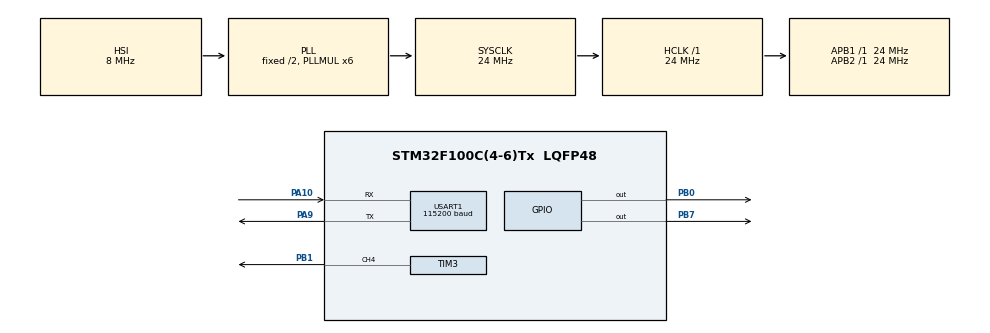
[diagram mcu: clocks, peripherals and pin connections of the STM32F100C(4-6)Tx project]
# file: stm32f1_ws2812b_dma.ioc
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Dma.Request0=TIM3_CH4/UP
Dma.TIM3_CH4/UP.0.Direction=DMA_MEMORY_TO_PERIPH
Dma.TIM3_CH4/UP.0.Instance=DMA1_Channel3
Dma.TIM3_CH4/UP.0.MemDataAlignment=DMA_MDATAALIGN_BYTE
Dma.TIM3_CH4/UP.0.MemInc=DMA_MINC_ENABLE
Dma.TIM3_CH4/UP.0.Mode=DMA_CIRCULAR
Dma.TIM3_CH4/UP.0.PeriphDataAlignment=DMA_PDATAALIGN_HALFWORD
Dma.TIM3_CH4/UP.0.PeriphInc=DMA_PINC_DISABLE
Dma.TIM3_CH4/UP.0.Priority=DMA_PRIORITY_HIGH
Mcu.Family=STM32F1
Mcu.Name=STM32F100C(4-6)Tx
Mcu.Package=LQFP48
NVIC.DMA1_Channel3_IRQn=true\:0\:0\:false\:false\:true
NVIC.PriorityGroup=NVIC_PRIORITYGROUP_4
NVIC.USART1_IRQn=true\:0\:0\:false\:false\:true
PA10.Mode=Asynchronous
PA10.Signal=USART1_RX
PA9.Mode=Asynchronous
PA9.Signal=USART1_TX
PB0.Signal=GPIO_Output
PB1.GPIO_Speed=GPIO_SPEED_FREQ_HIGH
PB1.Signal=S_TIM3_CH4
PB7.Signal=GPIO_Output
ProjectManager.HeapSize=0x800
ProjectManager.StackSize=0x400
ProjectManager.TargetToolchain=MDK-ARM V5
RCC.AHBFreq_Value=24000000
RCC.APB1Freq_Value=24000000
RCC.APB1TimFreq_Value=24000000
RCC.APB2Freq_Value=24000000
RCC.APB2TimFreq_Value=24000000
RCC.HCLKFreq_Value=24000000
RCC.PLLMUL=RCC_PLL_MUL6
RCC.SYSCLKFreq_VALUE=24000000
RCC.SYSCLKSource=RCC_SYSCLKSOURCE_PLLCLK
RCC.VDD_VALUE=3.3
SH.S_TIM3_CH4.0=TIM3_CH4,PWM Generation4 CH4
TIM3.Channel-PWM\ Generation4\ CH4=TIM_CHANNEL_4
TIM3.Period=30
TIM3.Prescaler=0
USART1.BaudRate=115200
VP_SYS_VS_ND.Mode=No_Debug
VP_TIM3_VS_ClockSourceINT.Mode=Internal
board=stm32f1_ws2812b_dma

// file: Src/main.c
/**
  ******************************************************************************
  * File Name          : main.c
  * Description        : Main program body
  ******************************************************************************
  *
  * COPYRIGHT(c) 2016 STMicroelectronics
  *
  * Redistribution and use in source and binary forms, with or without modification,
  * are permitted provided that the following conditions are met:
  *   1. Redistributions of source code must retain the above copyright notice,
  *      this list of conditions and the following disclaimer.
  *   2. Redistributions in binary form must reproduce the above copyright notice,
  *      this list of conditions and the following disclaimer in the documentation
  *      and/or other materials provided with the distribution.
  *   3. Neither the name of STMicroelectronics nor the names of its contributors
  *      may be used to endorse or promote products derived from this software
  *      without specific prior written permission.
  *
  * THIS SOFTWARE IS PROVIDED BY THE COPYRIGHT HOLDERS AND CONTRIBUTORS "AS IS"
  * AND ANY EXPRESS OR IMPLIED WARRANTIES, INCLUDING, BUT NOT LIMITED TO, THE
  * IMPLIED WARRANTIES OF MERCHANTABILITY AND FITNESS FOR A PARTICULAR PURPOSE ARE
  * DISCLAIMED. IN NO EVENT SHALL THE COPYRIGHT HOLDER OR CONTRIBUTORS BE LIABLE
  * FOR ANY DIRECT, INDIRECT, INCIDENTAL, SPECIAL, EXEMPLARY, OR CONSEQUENTIAL
  * DAMAGES (INCLUDING, BUT NOT LIMITED TO, PROCUREMENT OF SUBSTITUTE GOODS OR
  * SERVICES; LOSS OF USE, DATA, OR PROFITS; OR BUSINESS INTERRUPTION) HOWEVER
  * CAUSED AND ON ANY THEORY OF LIABILITY, WHETHER IN CONTRACT, STRICT LIABILITY,
  * OR TORT (INCLUDING NEGLIGENCE OR OTHERWISE) ARISING IN ANY WAY OUT OF THE USE
  * OF THIS SOFTWARE, EVEN IF ADVISED OF THE POSSIBILITY OF SUCH DAMAGE.
  *
  ******************************************************************************
  */
#include "main.h"
#include "stm32f1xx_hal.h"

/* USER CODE BEGIN Includes */
#include "ws2812b.h"
/* USER CODE END Includes */

TIM_HandleTypeDef htim3;
DMA_HandleTypeDef hdma_tim3_ch4_up;

UART_HandleTypeDef huart1;

/* USER CODE BEGIN PV */
/* Private variables ---------------------------------------------------------*/

/* USER CODE END PV */

void SystemClock_Config(void);
void Error_Handler(void);
static void MX_GPIO_Init(void);
static void MX_DMA_Init(void);
static void MX_TIM3_Init(void);
static void MX_USART1_UART_Init(void);
void HAL_TIM_MspPostInit(TIM_HandleTypeDef *htim);

/* USER CODE BEGIN PFP */
/* Private function prototypes -----------------------------------------------*/
void DMA_Half_Completed(void);
void DMA_All_Completed(void);
/* USER CODE END PFP */

/* USER CODE BEGIN 0 */

const uint8_t ledsNumber = 150;
const uint8_t pwmColorShortSize = 2;
const uint8_t ledsSize = ledsNumber;
LedColor leds[ledsSize];
uint8_t currentColorIndex = 0;
uint8_t currentPwmColorIndex = 0;
LedColor * currentLed;
PwmColor * currentPwmLed;
volatile uint8_t isSendCompleted = 0;
volatile uint8_t doPrepareNextLed = 0;

PwmColor pwmColorShort[pwmColorShortSize];

uint16_t bufferSize = pwmColorShortSize * 3 * 8;
volatile uint8_t setLeds = 0;

const uint16_t colorPacketSize = ledsNumber * 3 + 1;
uint8_t aRxBuffer[colorPacketSize];
uint8_t currentLedNumber = 0;
uint8_t colorPosition = 0;
uint8_t receivedByte = 0;

void SetLedColor(LedColor * leds, uint16_t index, LedColor *color)
{
    leds[index].Red = color->Red;
    leds[index].Green = color->Green;
    leds[index].Blue = color->Blue;
}

void ClearAllLeds(LedColor * leds)
{
    for(int i = 0; i < ledsSize; i++)
    {
        ClearLedColor(&leds[i]);
    }
}

void MoveLeds(LedColor * leds)
{
    LedColor temp = leds[ledsNumber - 1];

    for(int i=ledsNumber - 1; i > 0; i--)
    {
        leds[i] = leds[i - 1];
    }
    leds[0] = temp;
}

void SetColorToPwm(LedColor *ledColor, PwmColor *pwmColor)
{
    ConvertColorLedToPwm(ledColor, pwmColor);
}

LedColor* GetNextLed()
{
    if (currentColorIndex == ledsSize - 1)
    {
        isSendCompleted = 1;
    }

    currentLed = &leds[currentColorIndex];
    currentColorIndex++;

    if (currentColorIndex == ledsSize)
    {
        currentColorIndex = 0;
    }

    return currentLed;
}

PwmColor* GetNextPwmLed()
{
    currentPwmLed = &pwmColorShort[currentPwmColorIndex];
    currentPwmColorIndex++;

    if (currentPwmColorIndex == pwmColorShortSize)
    {
        currentPwmColorIndex = 0;
    }

    return currentPwmLed;
}

void PrepareNextLed(void)
{
    if (isSendCompleted == 1)
    {
        ClearPwmColor(GetNextPwmLed());
        return;
    }

    SetColorToPwm(GetNextLed(), GetNextPwmLed());
}

void SendLedsToDMA()
{
    currentColorIndex = 0;
    currentPwmColorIndex = 0;
    doPrepareNextLed = 0;
    isSendCompleted = 0;
    PrepareNextLed();
    PrepareNextLed();
    HAL_GPIO_TogglePin(GPIOB, GPIO_PIN_0);
    HAL_TIM_PWM_Start_DMA(&htim3, TIM_CHANNEL_4, (uint32_t *)pwmColorShort, bufferSize);
}
/* USER CODE END 0 */

int main(void)
{

  /* MCU Configuration----------------------------------------------------------*/

  /* Reset of all peripherals, Initializes the Flash interface and the Systick. */
  HAL_Init();

  /* Configure the system clock */
  SystemClock_Config();

  /* Initialize all configured peripherals */
  MX_GPIO_Init();
  MX_DMA_Init();
  MX_TIM3_Init();
  MX_USART1_UART_Init();

  /* USER CODE BEGIN 2 */
    ClearAllLeds(leds);
    uint8_t light = 2;

    //LedColor mixColor = { .Red = light, .Green = light, .Blue = light};
    LedColor greenColor = { .Red = 0, .Green = light, .Blue = 0};
    LedColor redColor = { .Red = light, .Green = 0, .Blue = 0};
    LedColor blueColor = { .Red = 0, .Green = 0, .Blue = light};
    LedColor yellowColor = { .Red = light, .Green = light, .Blue = 0};

    //for(int i=0; i<ledsNumber; i++)
    //{
    //    if (i%9 == 0)
    //    {
    //        SetLedColor(leds, pwmColor, i, &greenColor);
    //    }
    //    else if (i%6 == 0)
    //    {
    //        SetLedColor(leds, pwmColor, i, &blueColor);
    //    }
    //    else if (i%3 == 0)
    //    {
    //        SetLedColor(leds, pwmColor, i, &redColor);
    //    }
    //    else
    //    {
    //        SetLedColor(leds, pwmColor, i, &yellowColor);
    //    }
    //}

    SetLedColor(leds, 0, &greenColor);
    SetLedColor(leds, 1, &redColor);
    SetLedColor(leds, 2, &blueColor);
    SetLedColor(leds, 3, &yellowColor);
    SendLedsToDMA();
    HAL_UART_Receive_IT(&huart1, aRxBuffer, colorPacketSize);

  /* USER CODE END 2 */

  /* Infinite loop */
  /* USER CODE BEGIN WHILE */
    uint16_t i = 0;
    LedColor tempColor = { .Red = 0, .Green = 0, .Blue = 0};
    while (1)
    {
        if (setLeds == 1)
        {
            for(i = 0; i < ledsNumber; i++)
            {
                tempColor.Red = aRxBuffer[1 + i * 3 + 0];
                tempColor.Green = aRxBuffer[1 + i * 3 + 1];
                tempColor.Blue = aRxBuffer[1 + i * 3 + 2];
                SetLedColor(leds, i, &tempColor);
            }

            SendLedsToDMA();
            setLeds = 0;
        }

  /* USER CODE END WHILE */

    }

}

/** System Clock Configuration
*/
void SystemClock_Config(void)
{

  RCC_OscInitTypeDef RCC_OscInitStruct;
  RCC_ClkInitTypeDef RCC_ClkInitStruct;

    /**Initializes the CPU, AHB and APB busses clocks
    */
  RCC_OscInitStruct.OscillatorType = RCC_OSCILLATORTYPE_HSI;
  RCC_OscInitStruct.HSIState = RCC_HSI_ON;
  RCC_OscInitStruct.HSICalibrationValue = 16;
  RCC_OscInitStruct.PLL.PLLState = RCC_PLL_ON;
  RCC_OscInitStruct.PLL.PLLSource = RCC_PLLSOURCE_HSI_DIV2;
  RCC_OscInitStruct.PLL.PLLMUL = RCC_PLL_MUL6;
  if (HAL_RCC_OscConfig(&RCC_OscInitStruct) != HAL_OK)
  {
    Error_Handler();
  }

    /**Initializes the CPU, AHB and APB busses clocks
    */
  RCC_ClkInitStruct.ClockType = RCC_CLOCKTYPE_HCLK|RCC_CLOCKTYPE_SYSCLK
                              |RCC_CLOCKTYPE_PCLK1|RCC_CLOCKTYPE_PCLK2;
  RCC_ClkInitStruct.SYSCLKSource = RCC_SYSCLKSOURCE_PLLCLK;
  RCC_ClkInitStruct.AHBCLKDivider = RCC_SYSCLK_DIV1;
  RCC_ClkInitStruct.APB1CLKDivider = RCC_HCLK_DIV1;
  RCC_ClkInitStruct.APB2CLKDivider = RCC_HCLK_DIV1;

  if (HAL_RCC_ClockConfig(&RCC_ClkInitStruct, FLASH_LATENCY_0) != HAL_OK)
  {
    Error_Handler();
  }

    /**Configure the Systick interrupt time
    */
  HAL_SYSTICK_Config(HAL_RCC_GetHCLKFreq()/1000);

    /**Configure the Systick
    */
  HAL_SYSTICK_CLKSourceConfig(SYSTICK_CLKSOURCE_HCLK);

  /* SysTick_IRQn interrupt configuration */
  HAL_NVIC_SetPriority(SysTick_IRQn, 0, 0);
}

/* TIM3 init function */
static void MX_TIM3_Init(void)
{

  TIM_ClockConfigTypeDef sClockSourceConfig;
  TIM_MasterConfigTypeDef sMasterConfig;
  TIM_OC_InitTypeDef sConfigOC;

  htim3.Instance = TIM3;
  htim3.Init.Prescaler = 0;
  htim3.Init.CounterMode = TIM_COUNTERMODE_UP;
  htim3.Init.Period = 30;
  htim3.Init.ClockDivision = TIM_CLOCKDIVISION_DIV1;
  if (HAL_TIM_Base_Init(&htim3) != HAL_OK)
  {
    Error_Handler();
  }

  sClockSourceConfig.ClockSource = TIM_CLOCKSOURCE_INTERNAL;
  if (HAL_TIM_ConfigClockSource(&htim3, &sClockSourceConfig) != HAL_OK)
  {
    Error_Handler();
  }

  if (HAL_TIM_PWM_Init(&htim3) != HAL_OK)
  {
    Error_Handler();
  }

  sMasterConfig.MasterOutputTrigger = TIM_TRGO_RESET;
  sMasterConfig.MasterSlaveMode = TIM_MASTERSLAVEMODE_DISABLE;
  if (HAL_TIMEx_MasterConfigSynchronization(&htim3, &sMasterConfig) != HAL_OK)
  {
    Error_Handler();
  }

  sConfigOC.OCMode = TIM_OCMODE_PWM1;
  sConfigOC.Pulse = 0;
  sConfigOC.OCPolarity = TIM_OCPOLARITY_HIGH;
  sConfigOC.OCFastMode = TIM_OCFAST_DISABLE;
  if (HAL_TIM_PWM_ConfigChannel(&htim3, &sConfigOC, TIM_CHANNEL_4) != HAL_OK)
  {
    Error_Handler();
  }

  HAL_TIM_MspPostInit(&htim3);

}

/* USART1 init function */
static void MX_USART1_UART_Init(void)
{

  huart1.Instance = USART1;
  huart1.Init.BaudRate = 115200;
  huart1.Init.WordLength = UART_WORDLENGTH_8B;
  huart1.Init.StopBits = UART_STOPBITS_1;
  huart1.Init.Parity = UART_PARITY_NONE;
  huart1.Init.Mode = UART_MODE_TX_RX;
  huart1.Init.HwFlowCtl = UART_HWCONTROL_NONE;
  huart1.Init.OverSampling = UART_OVERSAMPLING_16;
  if (HAL_UART_Init(&huart1) != HAL_OK)
  {
    Error_Handler();
  }

}

static void MX_DMA_Init(void)
{
  /* DMA controller clock enable */
  __HAL_RCC_DMA1_CLK_ENABLE();

  /* DMA interrupt init */
  /* DMA1_Channel3_IRQn interrupt configuration */
  HAL_NVIC_SetPriority(DMA1_Channel3_IRQn, 0, 0);
  HAL_NVIC_EnableIRQ(DMA1_Channel3_IRQn);

}

/** Configure pins as
        * Analog
        * Input
        * Output
        * EVENT_OUT
        * EXTI
*/
static void MX_GPIO_Init(void)
{

  GPIO_InitTypeDef GPIO_InitStruct;

  /* GPIO Ports Clock Enable */
  __HAL_RCC_GPIOB_CLK_ENABLE();
  __HAL_RCC_GPIOA_CLK_ENABLE();

  /*Configure GPIO pin Output Level */
  HAL_GPIO_WritePin(GPIOB, GPIO_PIN_0|GPIO_PIN_7, GPIO_PIN_RESET);

  /*Configure GPIO pins : PB0 PB7 */
  GPIO_InitStruct.Pin = GPIO_PIN_0|GPIO_PIN_7;
  GPIO_InitStruct.Mode = GPIO_MODE_OUTPUT_PP;
  GPIO_InitStruct.Speed = GPIO_SPEED_FREQ_LOW;
  HAL_GPIO_Init(GPIOB, &GPIO_InitStruct);

}

/* USER CODE BEGIN 4 */

void DMA_Half_Completed(void)
{
    HAL_GPIO_TogglePin(GPIOB, GPIO_PIN_7);
    PrepareNextLed();
    HAL_GPIO_TogglePin(GPIOB, GPIO_PIN_7);
}

void DMA_All_Completed(void)
{
    if (isSendCompleted == 1)
    {
        HAL_TIM_PWM_Stop_DMA(&htim3, TIM_CHANNEL_4);
        HAL_GPIO_TogglePin(GPIOB, GPIO_PIN_0);
        HAL_GPIO_TogglePin(GPIOB, GPIO_PIN_0);
        HAL_GPIO_TogglePin(GPIOB, GPIO_PIN_0);
        return;
    }

    HAL_GPIO_TogglePin(GPIOB, GPIO_PIN_7);
    PrepareNextLed();
    HAL_GPIO_TogglePin(GPIOB, GPIO_PIN_7);
}

void HAL_TIM_PWM_PulseFinishedCallback(TIM_HandleTypeDef *htim)
{
	HAL_GPIO_TogglePin(GPIOB, GPIO_PIN_0);
    DMA_All_Completed();
    HAL_GPIO_TogglePin(GPIOB, GPIO_PIN_0);
}

void HAL_UART_TxCpltCallback(UART_HandleTypeDef *huart)
{

}

void HAL_UART_RxCpltCallback(UART_HandleTypeDef *huart)
{
    setLeds = 1;
    HAL_UART_Receive_IT(&huart1, aRxBuffer, colorPacketSize);
}
/* USER CODE END 4 */

void Error_Handler(void)
{
  while(1)
  {
  }
}

/************************ (C) COPYRIGHT STMicroelectronics *****END OF FILE****/
